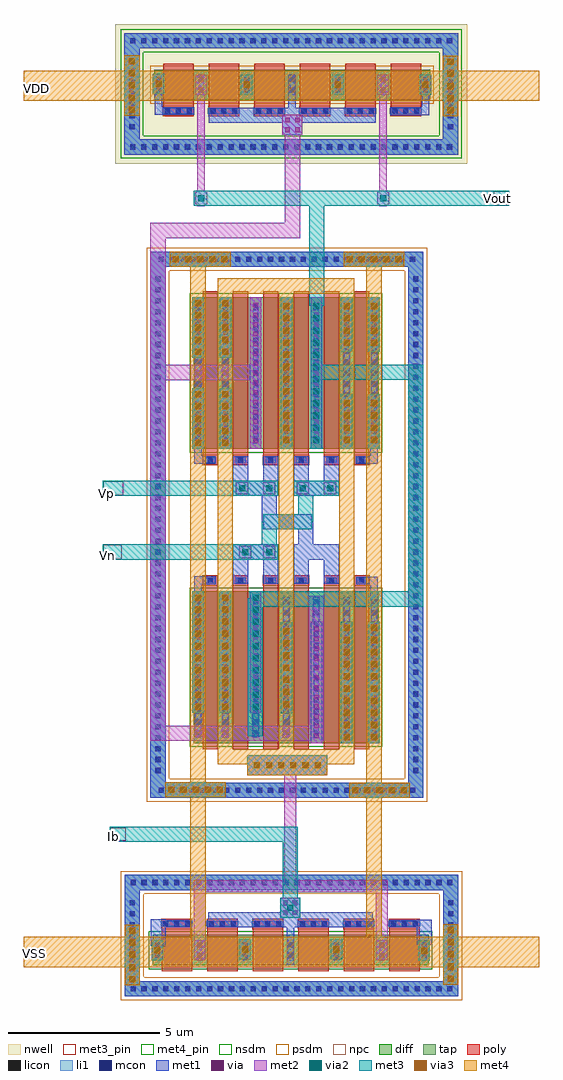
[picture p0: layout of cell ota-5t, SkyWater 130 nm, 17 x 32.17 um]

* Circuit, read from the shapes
.subckt ota-5t Ib VDD VSS Vn Vout Vp
XM1 n1 VSS VSS VSS sky130_fd_pr__nfet_01v8 w=1 l=1 m=2
XM2 n1 VSS VSS VSS sky130_fd_pr__nfet_01v8 w=5 l=0.5 m=4
XM3 VSS Ib n1 VSS sky130_fd_pr__nfet_01v8 w=1 l=1 m=2
XM4 Vout Vn n1 VSS sky130_fd_pr__nfet_01v8 w=5 l=0.5 m=4
XM5 n2 Vp n1 VSS sky130_fd_pr__nfet_01v8 w=5 l=0.5 m=4
XM6 Ib Ib VSS VSS sky130_fd_pr__nfet_01v8 w=1 l=1 m=2
XM7 Vout VDD VDD VDD sky130_fd_pr__pfet_01v8 w=1 l=1 m=2
XM8 VDD n2 Vout VDD sky130_fd_pr__pfet_01v8 w=1 l=1 m=2
XM9 n2 n2 VDD VDD sky130_fd_pr__pfet_01v8 w=1 l=1 m=2
.ends

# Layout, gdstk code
import gdstk
lib = gdstk.Library(unit=1e-6, precision=5e-09)
def R(c, l, rs):  # rectangles x0, y0, x1, y1
    for r in rs: c.add(gdstk.rectangle(r[:2], r[2:], *l))
def A(c, l, x, y, w, h, nx, ny, dx, dy):  # array of equal rectangles
    R(c, l, [(x+i*dx, y+j*dy, x+i*dx+w, y+j*dy+h) for i in range(nx) for j in range(ny)])
def P(c, l, *ps):  # polygons
    for p in ps: c.add(gdstk.Polygon(p, *l))
nwell = (64, 20)
diff = (65, 20)
tap = (65, 44)
poly = (66, 20)
licon = (66, 44)
li1 = (67, 20)
mcon = (67, 44)
met1 = (68, 20)
via = (68, 44)
met2 = (69, 20)
via2 = (69, 44)
met3_pin = (70, 16)
met3 = (70, 20)
via3 = (70, 44)
met4_pin = (71, 16)
met4 = (71, 20)
nsdm = (93, 44)
psdm = (94, 20)
npc = (95, 20)

ota_5t = lib.new_cell('ota-5t')
R(ota_5t, nwell, [(-2.985,10.495,-2.805,10.675), (-2.985,10.495,8.625,15.105), (-2.005,11.88,7.705,13.98), (8.445,14.925,8.625,15.105)])
R(ota_5t, diff, [(-1.75,-15.92,7.35,-14.92), (-0.4,-8.6,5.7,-3.6), (-0.4,1.1,5.7,6.1), (-1.7,12.6,7.4,13.6)])
P(ota_5t, tap, [(-2.67,-16.94),(-2.67,-16.44),(7.83,-16.44),(7.83,-13.44),(-2.17,-13.44),(-2.17,-16.44),(-2.67,-16.44),(-2.67,-12.94),(8.33,-12.94),(8.33,-16.94)],
  [(-1.82,-10.4),(-1.82,-9.9),(6.68,-9.9),(6.68,7.1),(-1.32,7.1),(-1.32,-9.9),(-1.82,-9.9),(-1.82,7.6),(7.18,7.6),(7.18,-10.4)],
  [(-2.68,10.8),(-2.68,11.3),(7.82,11.3),(7.82,14.3),(-2.18,14.3),(-2.18,11.3),(-2.68,11.3),(-2.68,14.8),(8.32,14.8),(8.32,10.8)])
A(ota_5t, poly, -1.45, -16.12, 1, 1.4, 6, 1, 1.5, 0)
A(ota_5t, poly, -1.45, -14.72, 1, 0.33, 6, 1, 1.5, 0)
A(ota_5t, poly, -0.1, -8.8, 0.5, 5.4, 6, 2, 1, 9.7)
A(ota_5t, poly, -0.1, -3.4, 0.5, 0.33, 6, 2, 1, 3.97)
A(ota_5t, poly, -1.4, 12.07, 1, 0.33, 6, 1, 1.5, 0)
A(ota_5t, poly, -1.4, 12.4, 1, 1.4, 6, 1, 1.5, 0)
A(ota_5t, licon, -2.475, -16.775, 0.17, 0.17, 30, 2, 0.36, 3.5)
A(ota_5t, licon, -2.505, -16.105, 0.17, 0.17, 1, 7, 0, 0.36)
A(ota_5t, licon, 7.995, -16.105, 0.17, 0.17, 1, 7, 0, 0.36)
A(ota_5t, licon, -0.285, -15.685, 0.17, 0.17, 5, 2, 1.5, 0.36)
A(ota_5t, licon, -1.395, -14.64, 0.17, 0.17, 3, 1, 0.36, 0)
A(ota_5t, licon, 0.105, -14.64, 0.17, 0.17, 3, 1, 0.36, 0)
A(ota_5t, licon, 1.605, -14.64, 0.17, 0.17, 3, 1, 0.36, 0)
A(ota_5t, licon, 3.105, -14.64, 0.17, 0.17, 3, 1, 0.36, 0)
A(ota_5t, licon, 4.605, -14.64, 0.17, 0.17, 3, 1, 0.36, 0)
A(ota_5t, licon, 6.105, -14.64, 0.17, 0.17, 3, 1, 0.36, 0)
A(ota_5t, licon, -1.545, -10.235, 0.17, 0.17, 24, 2, 0.36, 17.5)
A(ota_5t, licon, -1.655, -9.585, 0.17, 0.17, 1, 46, 0, 0.36)
A(ota_5t, licon, 6.845, -9.585, 0.17, 0.17, 1, 46, 0, 0.36)
A(ota_5t, licon, -0.335, -8.345, 0.17, 0.17, 1, 13, 0, 0.36)
A(ota_5t, licon, 0.565, -8.345, 0.17, 0.17, 5, 13, 1, 0.36)
A(ota_5t, licon, 5.465, -8.345, 0.17, 0.17, 1, 13, 0, 0.36)
A(ota_5t, licon, 0.065, -3.32, 0.17, 0.17, 6, 2, 1, 3.97)
A(ota_5t, licon, -0.335, 1.355, 0.17, 0.17, 1, 13, 0, 0.36)
A(ota_5t, licon, 0.565, 1.355, 0.17, 0.17, 5, 13, 1, 0.36)
A(ota_5t, licon, 5.465, 1.355, 0.17, 0.17, 1, 13, 0, 0.36)
A(ota_5t, licon, -2.485, 10.965, 0.17, 0.17, 30, 2, 0.36, 3.5)
A(ota_5t, licon, -2.515, 11.635, 0.17, 0.17, 1, 7, 0, 0.36)
A(ota_5t, licon, 7.985, 11.635, 0.17, 0.17, 1, 7, 0, 0.36)
A(ota_5t, licon, -1.345, 12.15, 0.17, 0.17, 3, 1, 0.36, 0)
A(ota_5t, licon, 0.155, 12.15, 0.17, 0.17, 3, 1, 0.36, 0)
A(ota_5t, licon, 1.655, 12.15, 0.17, 0.17, 3, 1, 0.36, 0)
A(ota_5t, licon, 3.155, 12.15, 0.17, 0.17, 3, 1, 0.36, 0)
A(ota_5t, licon, 4.655, 12.15, 0.17, 0.17, 3, 1, 0.36, 0)
A(ota_5t, licon, 6.155, 12.15, 0.17, 0.17, 3, 1, 0.36, 0)
A(ota_5t, licon, -0.235, 12.835, 0.17, 0.17, 5, 2, 1.5, 0.36)
R(ota_5t, licon, [(-1.685,-15.685,-1.515,-15.515), (7.115,-15.685,7.285,-15.515), (-1.685,-15.325,-1.515,-15.155), (7.115,-15.325,7.285,-15.155), (-1.635,12.835,-1.465,13.005), (7.165,12.835,7.335,13.005), (-1.635,13.195,-1.465,13.365), (7.165,13.195,7.335,13.365)])
A(ota_5t, li1, -0.285, -15.765, 0.17, 0.69, 5, 1, 1.5, 0)
A(ota_5t, li1, -1.475, -14.64, 1.05, 0.17, 6, 1, 1.5, 0)
A(ota_5t, li1, 0.565, -8.425, 0.17, 4.65, 5, 2, 1, 9.7)
A(ota_5t, li1, -0.015, -3.32, 0.33, 0.17, 6, 2, 1, 3.97)
A(ota_5t, li1, -1.425, 12.15, 1.05, 0.17, 6, 1, 1.5, 0)
A(ota_5t, li1, -0.235, 12.755, 0.17, 0.69, 5, 1, 1.5, 0)
R(ota_5t, li1, [(-1.685,-15.765,-1.515,-15.075), (7.115,-15.765,7.285,-15.075), (-0.335,-8.425,-0.165,-3.775), (5.465,-8.425,5.635,-3.775), (-0.335,1.275,-0.165,5.925), (5.465,1.275,5.635,5.925), (-1.635,12.755,-1.465,13.445), (7.165,12.755,7.335,13.445)])
P(ota_5t, li1, [(-2.67,-16.94),(-2.67,-16.44),(7.83,-16.44),(7.83,-13.44),(-2.17,-13.44),(-2.17,-16.44),(-2.67,-16.44),(-2.67,-12.94),(8.33,-12.94),(8.33,-16.94)],
  [(-1.82,-10.4),(-1.82,-9.9),(6.68,-9.9),(6.68,7.1),(-1.32,7.1),(-1.32,-9.9),(-1.82,-9.9),(-1.82,7.6),(7.18,7.6),(7.18,-10.4)],
  [(-2.68,10.8),(-2.68,11.3),(7.82,11.3),(7.82,14.3),(-2.18,14.3),(-2.18,11.3),(-2.68,11.3),(-2.68,14.8),(8.32,14.8),(8.32,10.8)])
A(ota_5t, mcon, -2.475, -16.775, 0.17, 0.17, 30, 2, 0.36, 3.5)
A(ota_5t, mcon, -2.505, -16.105, 0.17, 0.17, 1, 7, 0, 0.36)
A(ota_5t, mcon, 7.995, -16.105, 0.17, 0.17, 1, 7, 0, 0.36)
A(ota_5t, mcon, -0.285, -15.685, 0.17, 0.17, 5, 2, 1.5, 0.36)
A(ota_5t, mcon, -1.395, -14.64, 0.17, 0.17, 3, 1, 0.36, 0)
A(ota_5t, mcon, 0.105, -14.64, 0.17, 0.17, 3, 1, 0.36, 0)
A(ota_5t, mcon, 1.605, -14.64, 0.17, 0.17, 3, 1, 0.36, 0)
A(ota_5t, mcon, 3.105, -14.64, 0.17, 0.17, 3, 1, 0.36, 0)
A(ota_5t, mcon, 4.605, -14.64, 0.17, 0.17, 3, 1, 0.36, 0)
A(ota_5t, mcon, 6.105, -14.64, 0.17, 0.17, 3, 1, 0.36, 0)
A(ota_5t, mcon, -1.545, -10.235, 0.17, 0.17, 24, 2, 0.36, 17.5)
A(ota_5t, mcon, -1.655, -9.585, 0.17, 0.17, 1, 46, 0, 0.36)
A(ota_5t, mcon, 6.845, -9.585, 0.17, 0.17, 1, 46, 0, 0.36)
A(ota_5t, mcon, -0.335, -8.345, 0.17, 0.17, 1, 13, 0, 0.36)
A(ota_5t, mcon, 0.565, -8.345, 0.17, 0.17, 5, 13, 1, 0.36)
A(ota_5t, mcon, 5.465, -8.345, 0.17, 0.17, 1, 13, 0, 0.36)
A(ota_5t, mcon, 0.065, -3.32, 0.17, 0.17, 6, 2, 1, 3.97)
A(ota_5t, mcon, -0.335, 1.355, 0.17, 0.17, 1, 13, 0, 0.36)
A(ota_5t, mcon, 0.565, 1.355, 0.17, 0.17, 5, 13, 1, 0.36)
A(ota_5t, mcon, 5.465, 1.355, 0.17, 0.17, 1, 13, 0, 0.36)
A(ota_5t, mcon, -2.485, 10.965, 0.17, 0.17, 30, 2, 0.36, 3.5)
A(ota_5t, mcon, -2.515, 11.635, 0.17, 0.17, 1, 7, 0, 0.36)
A(ota_5t, mcon, 7.985, 11.635, 0.17, 0.17, 1, 7, 0, 0.36)
A(ota_5t, mcon, -1.345, 12.15, 0.17, 0.17, 3, 1, 0.36, 0)
A(ota_5t, mcon, 0.155, 12.15, 0.17, 0.17, 3, 1, 0.36, 0)
A(ota_5t, mcon, 1.655, 12.15, 0.17, 0.17, 3, 1, 0.36, 0)
A(ota_5t, mcon, 3.155, 12.15, 0.17, 0.17, 3, 1, 0.36, 0)
A(ota_5t, mcon, 4.655, 12.15, 0.17, 0.17, 3, 1, 0.36, 0)
A(ota_5t, mcon, 6.155, 12.15, 0.17, 0.17, 3, 1, 0.36, 0)
A(ota_5t, mcon, -0.235, 12.835, 0.17, 0.17, 5, 2, 1.5, 0.36)
R(ota_5t, mcon, [(-1.685,-15.685,-1.515,-15.515), (7.115,-15.685,7.285,-15.515), (-1.685,-15.325,-1.515,-15.155), (7.115,-15.325,7.285,-15.155), (-1.635,12.835,-1.465,13.005), (7.165,12.835,7.335,13.005), (-1.635,13.195,-1.465,13.365), (7.165,13.195,7.335,13.365)])
A(ota_5t, met1, -0.315, -15.745, 0.23, 0.65, 5, 1, 1.5, 0)
A(ota_5t, met1, -1.455, -14.67, 1.01, 0.23, 6, 1, 1.5, 0)
A(ota_5t, met1, 0.535, -8.405, 0.23, 4.61, 5, 2, 1, 9.7)
A(ota_5t, met1, -0.035, -3.35, 0.37, 0.23, 6, 2, 1, 3.97)
A(ota_5t, met1, -1.405, 12.12, 1.01, 0.23, 6, 1, 1.5, 0)
A(ota_5t, met1, -0.265, 12.775, 0.23, 0.65, 5, 1, 1.5, 0)
R(ota_5t, met1, [(-2.67,-16.58,-2.17,-14.58), (7.83,-16.56,8.33,-14.56), (7.01,-15.77,7.39,-15.11), (-1.78,-15.75,-1.4,-15.09), (-0.39,-15.75,-0.01,-15.09), (5.61,-15.75,5.99,-15.09), (-1.715,-15.745,-1.485,-15.095), (7.085,-15.745,7.315,-15.095), (1.11,-15.73,1.49,-15.07), (4.12,-15.73,4.5,-15.07), (2.46,-14.35,3.12,-13.69), (4.73,-10.4,6.73,-9.9), (-1.33,-10.39,0.67,-9.89), (3.46,-8.6,3.84,-4.6), (4.46,-8.6,4.84,-4.6), (5.36,-8.6,5.74,-4.6), (-0.365,-8.405,-0.135,-3.795), (5.435,-8.405,5.665,-3.795), (2.47,-7.61,2.85,-4.61), (-0.44,-7.6,-0.06,-3.6), (0.45,-7.6,0.83,-3.6), (1.46,-7.6,1.84,-3.6), (1.1,-2.5,1.5,-2.1), (1.9,-2.5,2.3,-2.1), (1,-0.4,1.4,0), (1.9,-0.4,2.3,0), (3,-0.4,3.4,0), (3.9,-0.4,4.3,0), (-0.44,1.1,-0.06,3.1), (0.46,1.1,0.84,3.1), (1.46,1.1,1.84,6.1), (2.47,1.1,2.85,6.1), (3.46,1.1,3.84,6.1), (4.46,1.1,4.84,2.9), (5.36,1.1,5.74,2.9), (-0.365,1.295,-0.135,5.905), (5.435,1.295,5.665,5.905), (-0.44,4.1,-0.06,6.1), (0.46,4.1,0.84,6.1), (4.46,4.3,4.84,6.1), (5.36,4.3,5.74,6.1), (-1.18,7.1,0.82,7.6), (4.55,7.1,6.55,7.6), (2.53,11.45,3.19,12.11), (7.82,12.06,8.32,14.06), (-2.68,12.08,-2.18,14.08), (-0.34,12.77,0.04,13.43), (1.16,12.77,1.54,13.43), (4.17,12.77,4.55,13.43), (5.66,12.77,6.04,13.43), (7.05,12.77,7.43,13.43), (-1.665,12.775,-1.435,13.425), (7.135,12.775,7.365,13.425), (-1.74,12.8,-1.36,13.46)])
P(ota_5t, met1, [(-2.67,-16.94),(-2.67,-16.44),(7.83,-16.44),(7.83,-13.44),(-2.17,-13.44),(-2.17,-16.44),(-2.67,-16.44),(-2.67,-12.94),(8.33,-12.94),(8.33,-16.94)],
  [(-1.82,-10.4),(-1.82,-9.9),(6.68,-9.9),(6.68,7.1),(-1.32,7.1),(-1.32,-9.9),(-1.82,-9.9),(-1.82,7.6),(7.18,7.6),(7.18,-10.4)],
  [(-2.68,10.8),(-2.68,11.3),(7.82,11.3),(7.82,14.3),(-2.18,14.3),(-2.18,11.3),(-2.68,11.3),(-2.68,14.8),(8.32,14.8),(8.32,10.8)])
A(ota_5t, via, -2.495, -16.455, 0.15, 0.15, 1, 6, 0, 0.32)
A(ota_5t, via, 8.005, -16.435, 0.15, 0.15, 1, 6, 0, 0.32)
A(ota_5t, via, 4.855, -10.225, 0.15, 0.15, 6, 1, 0.32, 0)
A(ota_5t, via, -1.205, -10.215, 0.15, 0.15, 6, 1, 0.32, 0)
A(ota_5t, via, 3.575, -8.435, 0.15, 0.15, 1, 12, 0, 0.32)
A(ota_5t, via, 4.575, -8.435, 0.15, 0.15, 1, 12, 0, 0.32)
A(ota_5t, via, 5.475, -8.435, 0.15, 0.15, 1, 12, 0, 0.32)
A(ota_5t, via, 2.585, -7.465, 0.15, 0.15, 1, 9, 0, 0.32)
A(ota_5t, via, -0.325, -7.435, 0.15, 0.15, 1, 12, 0, 0.32)
A(ota_5t, via, 0.565, -7.435, 0.15, 0.15, 1, 12, 0, 0.32)
A(ota_5t, via, 1.575, -7.435, 0.15, 0.15, 1, 12, 0, 0.32)
A(ota_5t, via, -0.325, 1.225, 0.15, 0.15, 1, 6, 0, 0.32)
A(ota_5t, via, 0.575, 1.225, 0.15, 0.15, 1, 6, 0, 0.32)
A(ota_5t, via, 1.575, 1.285, 0.15, 0.15, 1, 15, 0, 0.32)
A(ota_5t, via, 2.585, 1.285, 0.15, 0.15, 1, 15, 0, 0.32)
A(ota_5t, via, 3.575, 1.285, 0.15, 0.15, 1, 15, 0, 0.32)
A(ota_5t, via, 4.575, 1.285, 0.15, 0.15, 1, 5, 0, 0.32)
A(ota_5t, via, 5.475, 1.285, 0.15, 0.15, 1, 5, 0, 0.32)
A(ota_5t, via, -0.325, 4.225, 0.15, 0.15, 1, 6, 0, 0.32)
A(ota_5t, via, 0.575, 4.225, 0.15, 0.15, 1, 6, 0, 0.32)
A(ota_5t, via, 4.575, 4.485, 0.15, 0.15, 1, 5, 0, 0.32)
A(ota_5t, via, 5.475, 4.485, 0.15, 0.15, 1, 5, 0, 0.32)
A(ota_5t, via, -1.055, 7.275, 0.15, 0.15, 6, 1, 0.32, 0)
A(ota_5t, via, 4.675, 7.275, 0.15, 0.15, 6, 1, 0.32, 0)
A(ota_5t, via, 7.995, 12.185, 0.15, 0.15, 1, 6, 0, 0.32)
A(ota_5t, via, -2.505, 12.205, 0.15, 0.15, 1, 6, 0, 0.32)
R(ota_5t, via, [(7.125,-15.675,7.275,-15.525), (-1.665,-15.655,-1.515,-15.505), (-0.275,-15.655,-0.125,-15.505), (5.725,-15.655,5.875,-15.505), (1.225,-15.635,1.375,-15.485), (4.235,-15.635,4.385,-15.485), (7.125,-15.355,7.275,-15.205), (-1.665,-15.335,-1.515,-15.185), (-0.275,-15.335,-0.125,-15.185), (5.725,-15.335,5.875,-15.185), (1.225,-15.315,1.375,-15.165), (4.235,-15.315,4.385,-15.165), (2.555,-14.255,2.705,-14.105), (2.875,-14.255,3.025,-14.105), (2.555,-13.935,2.705,-13.785), (2.875,-13.935,3.025,-13.785), (1.225,-2.375,1.375,-2.225), (2.025,-2.375,2.175,-2.225), (1.125,-0.275,1.275,-0.125), (2.025,-0.275,2.175,-0.125), (3.125,-0.275,3.275,-0.125), (4.025,-0.275,4.175,-0.125), (2.625,11.545,2.775,11.695), (2.945,11.545,3.095,11.695), (2.625,11.865,2.775,12.015), (2.945,11.865,3.095,12.015), (-0.225,12.865,-0.075,13.015), (1.275,12.865,1.425,13.015), (4.285,12.865,4.435,13.015), (5.775,12.865,5.925,13.015), (7.165,12.865,7.315,13.015), (-1.625,12.895,-1.475,13.045), (-0.225,13.185,-0.075,13.335), (1.275,13.185,1.425,13.335), (4.285,13.185,4.435,13.335), (5.775,13.185,5.925,13.335), (7.165,13.185,7.315,13.335), (-1.625,13.215,-1.475,13.365)])
R(ota_5t, met2, [(-2.67,-16.58,-2.17,-14.58), (7.83,-16.56,8.33,-14.56), (7.01,-15.77,7.39,-15.11), (-1.78,-15.75,-1.4,-15.09), (-0.39,-15.75,-0.01,-15.09), (5.61,-15.75,5.99,-15.09), (1.11,-15.73,1.49,-15.07), (4.12,-15.73,4.5,-15.07), (2.46,-14.35,3.12,-13.69), (4.73,-10.4,6.73,-9.9), (-1.33,-10.39,0.67,-9.89), (1.37,-9.66,4.01,-9), (3.46,-8.6,3.84,-4.6), (4.46,-8.6,4.84,-4.6), (5.36,-8.6,5.74,-4.6), (2.47,-7.61,2.85,-4.61), (-0.44,-7.6,-0.06,-3.6), (0.45,-7.6,0.83,-3.6), (1.46,-7.6,1.84,-3.6), (1.1,-2.5,1.5,-2.1), (1.9,-2.5,2.3,-2.1), (1,-0.4,1.4,0), (1.9,-0.4,2.3,0), (3,-0.4,3.4,0), (3.9,-0.4,4.3,0), (-0.44,1.1,-0.06,3.1), (0.46,1.1,0.84,3.1), (1.46,1.1,1.84,6.1), (2.47,1.1,2.85,6.1), (3.46,1.1,3.84,6.1), (4.46,1.1,4.84,2.9), (5.36,1.1,5.74,2.9), (-0.44,4.1,-0.06,6.1), (0.46,4.1,0.84,6.1), (4.46,4.3,4.84,6.1), (5.36,4.3,5.74,6.1), (-1.18,7.1,0.82,7.6), (4.55,7.1,6.55,7.6), (-0.35,9.16,0.05,9.56), (5.65,9.16,6.05,9.56), (2.53,11.45,3.19,12.11), (7.82,12.06,8.32,14.06), (-2.68,12.08,-2.18,14.08), (-0.34,12.77,0.04,13.43), (1.16,12.77,1.54,13.43), (4.17,12.77,4.55,13.43), (5.66,12.77,6.04,13.43), (7.05,12.77,7.43,13.43), (-1.74,12.8,-1.36,13.46)])
A(ota_5t, via2, -2.52, -16.48, 0.2, 0.2, 1, 5, 0, 0.4)
A(ota_5t, via2, 7.98, -16.46, 0.2, 0.2, 1, 5, 0, 0.4)
A(ota_5t, via2, 4.83, -10.25, 0.2, 0.2, 5, 1, 0.4, 0)
A(ota_5t, via2, -1.23, -10.24, 0.2, 0.2, 5, 1, 0.4, 0)
A(ota_5t, via2, 1.59, -9.43, 0.2, 0.2, 6, 1, 0.4, 0)
A(ota_5t, via2, 4.55, -8.5, 0.2, 0.2, 1, 10, 0, 0.4)
A(ota_5t, via2, 5.45, -8.5, 0.2, 0.2, 1, 10, 0, 0.4)
A(ota_5t, via2, -0.35, -7.5, 0.2, 0.2, 1, 10, 0, 0.4)
A(ota_5t, via2, 0.54, -7.5, 0.2, 0.2, 1, 10, 0, 0.4)
A(ota_5t, via2, 1.55, -7.5, 0.2, 0.2, 1, 10, 0, 0.4)
A(ota_5t, via2, 2.56, -7.41, 0.2, 0.2, 1, 7, 0, 0.4)
A(ota_5t, via2, -0.35, 1.2, 0.2, 0.2, 1, 5, 0, 0.4)
A(ota_5t, via2, 0.55, 1.2, 0.2, 0.2, 1, 5, 0, 0.4)
A(ota_5t, via2, 2.56, 1.3, 0.2, 0.2, 1, 12, 0, 0.4)
A(ota_5t, via2, 3.55, 1.3, 0.2, 0.2, 1, 12, 0, 0.4)
A(ota_5t, via2, 4.55, 1.3, 0.2, 0.2, 1, 4, 0, 0.4)
A(ota_5t, via2, 5.45, 1.3, 0.2, 0.2, 1, 4, 0, 0.4)
A(ota_5t, via2, -0.35, 4.2, 0.2, 0.2, 1, 5, 0, 0.4)
A(ota_5t, via2, 0.55, 4.2, 0.2, 0.2, 1, 5, 0, 0.4)
A(ota_5t, via2, 4.55, 4.5, 0.2, 0.2, 1, 4, 0, 0.4)
A(ota_5t, via2, 5.45, 4.5, 0.2, 0.2, 1, 4, 0, 0.4)
A(ota_5t, via2, -1.08, 7.25, 0.2, 0.2, 5, 1, 0.4, 0)
A(ota_5t, via2, 4.65, 7.25, 0.2, 0.2, 5, 1, 0.4, 0)
A(ota_5t, via2, 7.97, 12.16, 0.2, 0.2, 1, 5, 0, 0.4)
A(ota_5t, via2, -2.53, 12.18, 0.2, 0.2, 1, 5, 0, 0.4)
R(ota_5t, via2, [(7.1,-15.54,7.3,-15.34), (-1.69,-15.52,-1.49,-15.32), (1.2,-15.5,1.4,-15.3), (4.21,-15.5,4.41,-15.3), (2.69,-14.12,2.89,-13.92), (1.2,-2.4,1.4,-2.2), (2,-2.4,2.2,-2.2), (1.1,-0.3,1.3,-0.1), (2,-0.3,2.2,-0.1), (3.1,-0.3,3.3,-0.1), (4,-0.3,4.2,-0.1), (-0.25,9.26,-0.05,9.46), (5.75,9.26,5.95,9.46), (1.25,13,1.45,13.2), (4.26,13,4.46,13.2), (7.14,13,7.34,13.2), (-1.65,13.03,-1.45,13.23)])
R(ota_5t, met3_pin, [(-3.14,-11.82,-2.64,-11.39), (-3.38,-2.54,-2.77,-2.06), (-3.38,-0.43,-2.72,0.04), (9.5,9.13,9.99,9.59)])
R(ota_5t, met3, [(-2.67,-16.58,-2.17,-14.58), (7.83,-16.56,8.33,-14.56), (7.01,-15.77,7.39,-15.11), (-1.78,-15.75,-1.4,-15.09), (1.11,-15.73,1.49,-15.07), (4.12,-15.73,4.5,-15.07), (2.46,-14.35,3.12,-13.69), (4.73,-10.4,6.73,-9.9), (-1.33,-10.39,0.67,-9.89), (1.37,-9.66,4.01,-9), (4.46,-8.6,4.84,-4.6), (5.36,-8.6,5.74,-4.6), (2.47,-7.61,2.85,-4.61), (-0.44,-7.6,-0.06,-3.6), (0.45,-7.6,0.83,-3.6), (1.46,-7.6,1.84,-3.6), (1.1,-2.5,1.5,-2.1), (1.9,-2.5,2.3,-2.1), (1,-0.4,1.4,0), (1.9,-0.4,2.3,0), (3,-0.4,3.4,0), (3.9,-0.4,4.3,0), (-0.44,1.1,-0.06,3.1), (0.46,1.1,0.84,3.1), (2.47,1.1,2.85,6.1), (3.46,1.1,3.84,6.1), (4.46,1.1,4.84,2.9), (5.36,1.1,5.74,2.9), (-0.44,4.1,-0.06,6.1), (0.46,4.1,0.84,6.1), (4.46,4.3,4.84,6.1), (5.36,4.3,5.74,6.1), (-1.18,7.1,0.82,7.6), (4.55,7.1,6.55,7.6), (-0.35,9.16,0.05,9.56), (5.65,9.16,6.05,9.56), (7.82,12.06,8.32,14.06), (-2.68,12.08,-2.18,14.08), (1.16,12.77,1.54,13.43), (4.17,12.77,4.55,13.43), (7.05,12.77,7.43,13.43), (-1.74,12.8,-1.36,13.46)])
A(ota_5t, via3, -2.52, -16.48, 0.2, 0.2, 1, 5, 0, 0.4)
A(ota_5t, via3, 7.98, -16.46, 0.2, 0.2, 1, 5, 0, 0.4)
A(ota_5t, via3, 4.83, -10.25, 0.2, 0.2, 5, 1, 0.4, 0)
A(ota_5t, via3, -1.23, -10.24, 0.2, 0.2, 5, 1, 0.4, 0)
A(ota_5t, via3, 1.59, -9.43, 0.2, 0.2, 6, 1, 0.4, 0)
A(ota_5t, via3, 4.55, -8.5, 0.2, 0.2, 1, 10, 0, 0.4)
A(ota_5t, via3, 5.45, -8.5, 0.2, 0.2, 1, 10, 0, 0.4)
A(ota_5t, via3, -0.35, -7.5, 0.2, 0.2, 1, 10, 0, 0.4)
A(ota_5t, via3, 0.54, -7.5, 0.2, 0.2, 1, 10, 0, 0.4)
A(ota_5t, via3, 2.56, -7.41, 0.2, 0.2, 1, 7, 0, 0.4)
A(ota_5t, via3, -0.35, 1.2, 0.2, 0.2, 1, 5, 0, 0.4)
A(ota_5t, via3, 0.55, 1.2, 0.2, 0.2, 1, 5, 0, 0.4)
A(ota_5t, via3, 2.56, 1.3, 0.2, 0.2, 1, 12, 0, 0.4)
A(ota_5t, via3, 4.55, 1.3, 0.2, 0.2, 1, 4, 0, 0.4)
A(ota_5t, via3, 5.45, 1.3, 0.2, 0.2, 1, 4, 0, 0.4)
A(ota_5t, via3, -0.35, 4.2, 0.2, 0.2, 1, 5, 0, 0.4)
A(ota_5t, via3, 0.55, 4.2, 0.2, 0.2, 1, 5, 0, 0.4)
A(ota_5t, via3, 4.55, 4.5, 0.2, 0.2, 1, 4, 0, 0.4)
A(ota_5t, via3, 5.45, 4.5, 0.2, 0.2, 1, 4, 0, 0.4)
A(ota_5t, via3, -1.08, 7.25, 0.2, 0.2, 5, 1, 0.4, 0)
A(ota_5t, via3, 4.65, 7.25, 0.2, 0.2, 5, 1, 0.4, 0)
A(ota_5t, via3, 7.97, 12.16, 0.2, 0.2, 1, 5, 0, 0.4)
A(ota_5t, via3, -2.53, 12.18, 0.2, 0.2, 1, 5, 0, 0.4)
R(ota_5t, via3, [(7.1,-15.54,7.3,-15.34), (-1.69,-15.52,-1.49,-15.32), (1.2,-15.5,1.4,-15.3), (4.21,-15.5,4.41,-15.3), (1.25,13,1.45,13.2), (4.26,13,4.46,13.2), (7.14,13,7.34,13.2), (-1.65,13.03,-1.45,13.23)])
R(ota_5t, met4_pin, [(-6,-15.98,11,-14.98), (-6,12.57,11,13.57)])
R(ota_5t, met4, [(-2.67,-16.58,-2.17,-14.58), (7.83,-16.56,8.33,-14.56), (7.01,-15.77,7.39,-15.11), (-1.78,-15.75,-1.4,-15.09), (1.11,-15.73,1.49,-15.07), (4.12,-15.73,4.5,-15.07), (4.73,-10.4,6.73,-9.9), (-1.33,-10.39,0.67,-9.89), (1.37,-9.66,4.01,-9), (4.46,-8.6,4.84,-4.6), (5.36,-8.6,5.74,-4.6), (2.47,-7.61,2.85,-4.61), (-0.44,-7.6,-0.06,-3.6), (0.45,-7.6,0.83,-3.6), (-0.44,1.1,-0.06,3.1), (0.46,1.1,0.84,3.1), (2.47,1.1,2.85,6.1), (4.46,1.1,4.84,2.9), (5.36,1.1,5.74,2.9), (-0.44,4.1,-0.06,6.1), (0.46,4.1,0.84,6.1), (4.46,4.3,4.84,6.1), (5.36,4.3,5.74,6.1), (-1.18,7.1,0.82,7.6), (4.55,7.1,6.55,7.6), (7.82,12.06,8.32,14.06), (-2.68,12.08,-2.18,14.08), (1.16,12.77,1.54,13.43), (4.17,12.77,4.55,13.43), (7.05,12.77,7.43,13.43), (-1.74,12.8,-1.36,13.46)])
R(ota_5t, nsdm, [(-1.875,-16.045,7.475,-14.795), (-0.525,-8.725,5.825,-3.475), (-0.525,0.975,5.825,6.225), (-2.805,10.675,-2.68,10.8), (-2.805,10.675,8.445,11.425), (-2.805,11.425,-2.055,14.175), (7.695,11.425,8.445,14.175), (-2.805,14.175,8.445,14.925), (-2.18,14.175,-2.055,14.3), (7.695,14.175,7.82,14.3), (8.32,14.8,8.445,14.925)])
R(ota_5t, psdm, [(-2.795,-17.065,-2.045,-12.815), (-2.045,-17.065,7.705,-16.315), (7.705,-17.065,8.455,-12.815), (-2.045,-13.565,7.705,-12.815), (-1.945,-10.525,-1.195,7.725), (-1.195,-10.525,6.555,-9.775), (6.555,-10.525,7.305,7.725), (7.18,-10.525,7.305,-10.4), (-1.32,6.975,-1.195,7.1), (-1.195,6.975,6.555,7.725), (6.555,6.975,6.68,7.1), (6.555,6.975,6.68,7.1), (7.18,7.6,7.305,7.725), (-1.825,12.475,7.525,13.725)])
A(ota_5t, npc, -1.46, -14.73, 1.02, 0.35, 6, 1, 1.5, 0)
A(ota_5t, npc, -0.11, -3.41, 0.52, 0.35, 6, 2, 1, 3.97)
A(ota_5t, npc, -1.41, 12.06, 1.02, 0.35, 6, 1, 1.5, 0)
ota_5t.add(gdstk.FlexPath([(1.67,3.62),(-1.82,3.62)], 0.5, ends="flush", simple_path=True, layer=69, datatype=20))  # met2
ota_5t.add(gdstk.FlexPath([(-0.15,13.44),(-0.15,9.1)], 0.25, ends="flush", simple_path=True, layer=69, datatype=20))  # met2
ota_5t.add(gdstk.FlexPath([(5.85,13.43),(5.85,9.1)], 0.25, ends="flush", simple_path=True, layer=69, datatype=20))  # met2
ota_5t.add(gdstk.FlexPath([(2.86,11.85),(2.86,8.3),(-1.57,8.3),(-1.57,4.53)], 0.5, ends="flush", simple_path=True, layer=69, datatype=20))  # met2
ota_5t.add(gdstk.FlexPath([(3.53,-8.27),(-1.82,-8.27)], 0.5, ends="flush", simple_path=True, layer=69, datatype=20))  # met2
ota_5t.add(gdstk.FlexPath([(-1.57,4.58),(-1.57,-8.35)], 0.5, ends="flush", simple_path=True, layer=69, datatype=20))  # met2
ota_5t.add(gdstk.FlexPath([(-0.2,-15.76),(-0.2,-13.32),(5.8,-13.32),(5.8,-15.76)], 0.4, ends="flush", simple_path=True, layer=69, datatype=20))  # met2
ota_5t.add(gdstk.FlexPath([(2.79,-13.12),(2.79,-9.35)], 0.4, ends="flush", simple_path=True, layer=69, datatype=20))  # met2
ota_5t.add(gdstk.FlexPath([(3.65,-3.74),(3.65,-8.53)], 0.5, ends="flush", simple_path=True, layer=69, datatype=20))  # met2
ota_5t.add(gdstk.FlexPath([(6.73,3.63),(3.72,3.63)], 0.5, ends="flush", simple_path=True, layer=70, datatype=20))  # met3
ota_5t.add(gdstk.FlexPath([(3.66,5.81),(3.66,9.24)], 0.5, ends="flush", simple_path=True, layer=70, datatype=20))  # met3
ota_5t.add(gdstk.FlexPath([(6.93,3.88),(6.93,-4.1)], 0.5, ends="flush", simple_path=True, layer=70, datatype=20))  # met3
ota_5t.add(gdstk.FlexPath([(-3.16,-11.6),(1.14,-11.6)], 0.5, ends="flush", simple_path=True, layer=70, datatype=20))  # met3
ota_5t.add(gdstk.FlexPath([(1.14,-11.6),(2.79,-11.6),(2.79,-13.75)], 0.5, ends="flush", simple_path=True, layer=70, datatype=20))  # met3
ota_5t.add(gdstk.FlexPath([(-0.4,9.36),(10,9.36)], 0.5, ends="flush", simple_path=True, layer=70, datatype=20))  # met3
ota_5t.add(gdstk.FlexPath([(6.82,-3.85),(1.75,-3.85)], 0.5, ends="flush", simple_path=True, layer=70, datatype=20))  # met3
ota_5t.add(gdstk.FlexPath([(-3.4,-2.3),(0.9,-2.3)], 0.5, ends="flush", simple_path=True, layer=70, datatype=20))  # met3
ota_5t.add(gdstk.FlexPath([(1.9,-1.3),(3.5,-1.3),(3.5,-1.3)], 0.5, ends="flush", simple_path=True, layer=70, datatype=20))  # met3
ota_5t.add(gdstk.FlexPath([(3.3,-1.3),(3.3,-0.2)], 0.5, ends="flush", simple_path=True, layer=70, datatype=20))  # met3
ota_5t.add(gdstk.FlexPath([(2.9,-0.2),(4.4,-0.2)], 0.5, ends="flush", simple_path=True, layer=70, datatype=20))  # met3
ota_5t.add(gdstk.FlexPath([(2.4,-2.3),(0.9,-2.3)], 0.5, ends="flush", simple_path=True, layer=70, datatype=20))  # met3
ota_5t.add(gdstk.FlexPath([(2.4,-0.2),(0.9,-0.2)], 0.5, ends="flush", simple_path=True, layer=70, datatype=20))  # met3
ota_5t.add(gdstk.FlexPath([(2.1,-1.3),(2.1,-2.3)], 0.5, ends="flush", simple_path=True, layer=70, datatype=20))  # met3
ota_5t.add(gdstk.FlexPath([(-3.4,-0.2),(0.9,-0.2)], 0.5, ends="flush", simple_path=True, layer=70, datatype=20))  # met3
ota_5t.add(gdstk.FlexPath([(1.64,-3.83),(1.64,-8.37)], 0.5, ends="flush", simple_path=True, layer=70, datatype=20))  # met3
ota_5t.add(gdstk.FlexPath([(-0.25,1.34),(-0.25,0.74),(0.34,0.74)], 0.25, ends="flush", simple_path=True, layer=68, datatype=20))  # met1
ota_5t.add(gdstk.FlexPath([(5.55,1.3),(5.55,0.74),(4.95,0.74)], 0.25, ends="flush", simple_path=True, layer=68, datatype=20))  # met1
ota_5t.add(gdstk.FlexPath([(0.34,-3.23),(-0.25,-3.23),(-0.25,-3.72)], 0.25, ends="flush", simple_path=True, layer=68, datatype=20))  # met1
ota_5t.add(gdstk.FlexPath([(4.96,-3.24),(5.55,-3.24),(5.55,-3.82)], 0.25, ends="flush", simple_path=True, layer=68, datatype=20))  # met1
ota_5t.add(gdstk.FlexPath([(2.8,-14.18),(2.8,-15.9)], 0.25, ends="flush", simple_path=True, layer=68, datatype=20))  # met1
ota_5t.add(gdstk.FlexPath([(-0.38,12.24),(-1.55,12.24),(-1.55,12.93)], 0.25, ends="flush", simple_path=True, layer=68, datatype=20))  # met1
ota_5t.add(gdstk.FlexPath([(6.09,12.23),(7.25,12.23),(7.25,12.84)], 0.25, ends="flush", simple_path=True, layer=68, datatype=20))  # met1
ota_5t.add(gdstk.FlexPath([(0.9,-0.2),(2.4,-0.2)], 0.5, ends="flush", simple_path=True, layer=68, datatype=20))  # met1
ota_5t.add(gdstk.FlexPath([(2.9,-2.3),(4.4,-2.3)], 0.5, ends="flush", simple_path=True, layer=68, datatype=20))  # met1
ota_5t.add(gdstk.FlexPath([(2.9,-0.2),(4.4,-0.2)], 0.5, ends="flush", simple_path=True, layer=68, datatype=20))  # met1
ota_5t.add(gdstk.FlexPath([(2.4,-2.3),(0.9,-2.3)], 0.5, ends="flush", simple_path=True, layer=68, datatype=20))  # met1
ota_5t.add(gdstk.FlexPath([(1.9,-1.3),(3.5,-1.3)], 0.5, ends="flush", simple_path=True, layer=68, datatype=20))  # met1
ota_5t.add(gdstk.FlexPath([(2.1,-1.3),(2.1,-0.2)], 0.5, ends="flush", simple_path=True, layer=68, datatype=20))  # met1
ota_5t.add(gdstk.FlexPath([(3.3,-1.3),(3.3,-2.3)], 0.5, ends="flush", simple_path=True, layer=68, datatype=20))  # met1
ota_5t.add(gdstk.FlexPath([(3.15,0.05),(3.15,0.85)], 0.5, ends="flush", simple_path=True, layer=68, datatype=20))  # met1
ota_5t.add(gdstk.FlexPath([(4.15,0.05),(4.15,0.85)], 0.5, ends="flush", simple_path=True, layer=68, datatype=20))  # met1
ota_5t.add(gdstk.FlexPath([(1.15,0.05),(1.15,0.85)], 0.5, ends="flush", simple_path=True, layer=68, datatype=20))  # met1
ota_5t.add(gdstk.FlexPath([(2.15,0.05),(2.15,0.85)], 0.5, ends="flush", simple_path=True, layer=68, datatype=20))  # met1
ota_5t.add(gdstk.FlexPath([(1.15,-3.35),(1.15,-2.55)], 0.5, ends="flush", simple_path=True, layer=68, datatype=20))  # met1
ota_5t.add(gdstk.FlexPath([(2.15,-3.35),(2.15,-2.55)], 0.5, ends="flush", simple_path=True, layer=68, datatype=20))  # met1
ota_5t.add(gdstk.FlexPath([(3.15,-3.35),(3.15,-2.55)], 0.5, ends="flush", simple_path=True, layer=68, datatype=20))  # met1
ota_5t.add(gdstk.FlexPath([(4.15,-3.35),(4.15,-2.55)], 0.5, ends="flush", simple_path=True, layer=68, datatype=20))  # met1
ota_5t.add(gdstk.FlexPath([(0.1,12.1),(5.6,12.1)], 0.5, ends="flush", simple_path=True, layer=68, datatype=20))  # met1
ota_5t.add(gdstk.FlexPath([(2.85,13.44),(2.85,12.14)], 0.25, ends="flush", simple_path=True, layer=68, datatype=20))  # met1
ota_5t.add(gdstk.FlexPath([(0.08,-14.42),(5.51,-14.42)], 0.5, ends="flush", simple_path=True, layer=68, datatype=20))  # met1
ota_5t.add(gdstk.FlexPath([(-1.56,-15.29),(-1.56,-14.4)], 0.5, ends="flush", simple_path=True, layer=68, datatype=20))  # met1
ota_5t.add(gdstk.FlexPath([(7.21,-15.24),(7.21,-14.42)], 0.5, ends="flush", simple_path=True, layer=68, datatype=20))  # met1
ota_5t.add(gdstk.FlexPath([(-0.25,7.25),(-0.25,-15.5)], 0.5, ends="flush", simple_path=True, layer=71, datatype=20))  # met4
ota_5t.add(gdstk.FlexPath([(0.65,6.5),(0.65,-9)], 0.5, ends="flush", simple_path=True, layer=71, datatype=20))  # met4
ota_5t.add(gdstk.FlexPath([(5.55,7.25),(5.55,-15.5)], 0.5, ends="flush", simple_path=True, layer=71, datatype=20))  # met4
ota_5t.add(gdstk.FlexPath([(2.66,6.5),(2.66,-9)], 0.5, ends="flush", simple_path=True, layer=71, datatype=20))  # met4
ota_5t.add(gdstk.FlexPath([(4.65,6.5),(4.65,-9)], 0.5, ends="flush", simple_path=True, layer=71, datatype=20))  # met4
ota_5t.add(gdstk.FlexPath([(0.4,-9.05),(4.9,-9.05)], 0.5, ends="flush", simple_path=True, layer=71, datatype=20))  # met4
ota_5t.add(gdstk.FlexPath([(0.4,6.47),(4.9,6.47)], 0.5, ends="flush", simple_path=True, layer=71, datatype=20))  # met4
ota_5t.add(gdstk.FlexPath([(-6,13.07),(11,13.07)], 1, ends="flush", simple_path=True, layer=71, datatype=20))  # met4
ota_5t.add(gdstk.FlexPath([(-6,-15.48),(11,-15.48)], 1, ends="flush", simple_path=True, layer=71, datatype=20))  # met4
ota_5t.add(gdstk.Label('VSS', (-5.63,-15.54), layer=71, texttype=5))
ota_5t.add(gdstk.Label('VDD', (-5.59,12.99), layer=71, texttype=5))
ota_5t.add(gdstk.Label('Ib', (-3.04,-11.68), layer=70, texttype=5))
ota_5t.add(gdstk.Label('Vn', (-3.23,-2.42), layer=70, texttype=5))
ota_5t.add(gdstk.Label('Vp', (-3.28,-0.36), layer=70, texttype=5))
ota_5t.add(gdstk.Label('Vout', (9.62,9.35), layer=70, texttype=5))

lib.write_gds('ota-5t.gds')
